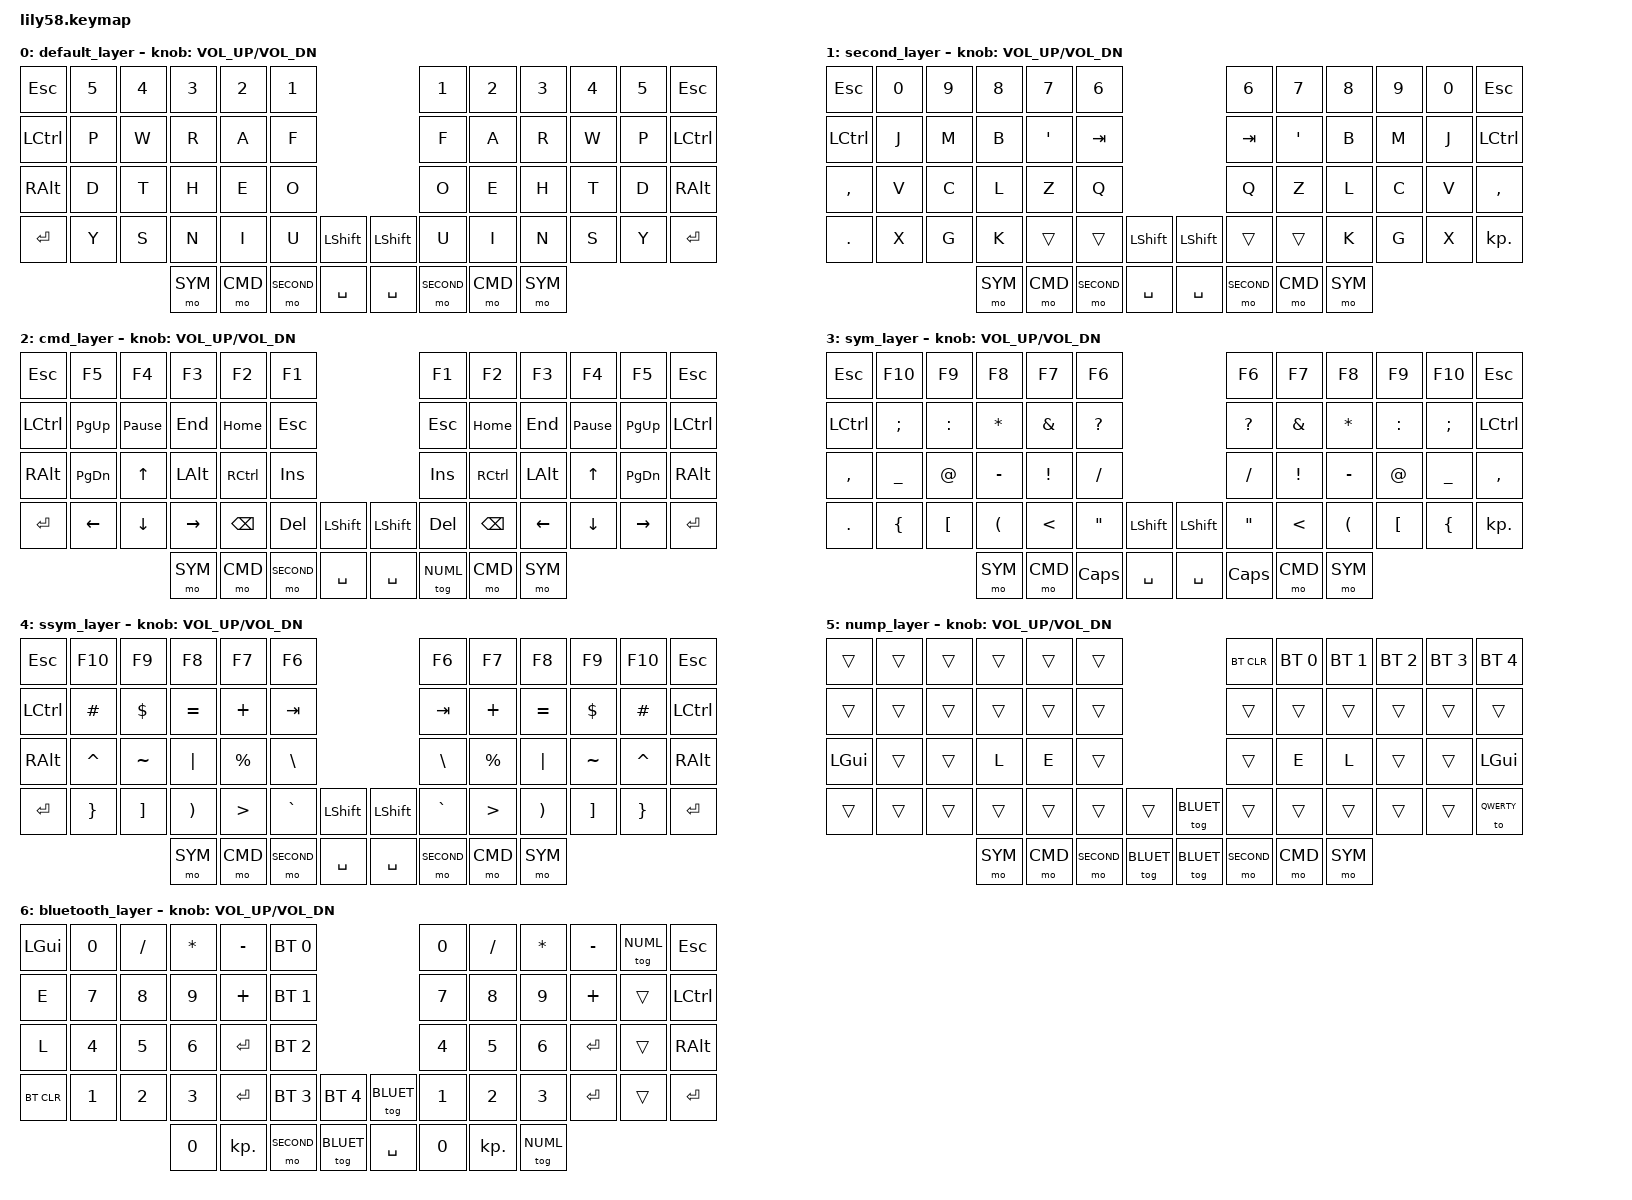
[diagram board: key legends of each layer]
/*
 * Copyright (c) 2020 The ZMK Contributors
 *
 * SPDX-License-Identifier: MIT
 */

#include <behaviors.dtsi>
#include <dt-bindings/zmk/keys.h>
#include <dt-bindings/zmk/bt.h>
#include <dt-bindings/zmk/ext_power.h>

#define QWERTY 0
#define SECOND 1
#define CMD    2
#define SYM    3
#define SSYM   4
#define NUML   5
#define BLUET  6


/ {
    /* Definición de capas condicionales */
    conditional_layers {
        compatible = "zmk,conditional-layers";
        tri_layer {
            if-layers = <SECOND SYM>;
            then-layer = <SSYM>;
			
		};
		
        tri_layer2 {
           if-layers = <SECOND SYM CMD>;
           then-layer = <NUML>;
        };
		
//		tri_layer3 {
//           if-layers = <SECOND CMD>;
//            then-layer = <NUML>;
//        };
		
//		tri_layer4 {
//            if-layers = <SYM CMD>;
//            then-layer = <BLUET>;
//        };
		
		
    };


	
//CMD +  SENC
//Sym + CMD
	



    keymap {
        compatible = "zmk,keymap";

        default_layer {
// ------------------------------------------------------------------------------------------------------------
// |  ESC  |  5  |  4  |  3   |  2   |  1   |                   |BTCLR | BT1   | BT2   |  BT3 |  BT4  |  BT5  |
// |  CTRL |  P  |  W  |  R   |  A   |  F   |                   |  F   |  A    |  R    |  W   |   P   | CTRL  |
// |  RALT |  D  |  T  |  H   |  E   |  O   |                   |  O   |  E    |  H    |  T   |   D   | RALT  |
// | RET   |  Y  |  S  |  N   |  I   |  U   |  SHIFT |  | SHIFT |  U   |  I    |  N    |  S   |   Y   | RET   |
//                     | SIM  | NUM  | SECON|  SPACE |  | SPACE | SECON| NUM   | SIM   |
            bindings = <
&kp ESC   &kp N5 &kp N4 &kp N3   &kp N2   &kp N1                           &kp N1      &kp N2   &kp N3    &kp N4  &kp N5   &kp ESC
&kp LCTRL &kp P  &kp W  &kp R    &kp A    &kp F                            &kp F       &kp A    &kp R     &kp W   &kp P    &kp LCTRL
&kp RALT  &kp D  &kp T  &kp H    &kp E    &kp O                            &kp O       &kp E    &kp H     &kp T   &kp D    &kp RALT
&kp RET   &kp Y  &kp S  &kp N    &kp I    &kp U       &kp LSHFT  &kp LSHFT &kp U       &kp I    &kp N     &kp S   &kp Y    &kp RET
                        &mo SYM  &mo CMD  &mo SECOND  &kp SPACE  &kp SPACE &mo SECOND  &mo CMD  &mo SYM
            >;

            sensor-bindings = <&inc_dec_kp C_VOL_UP C_VOL_DN>;
        };

        second_layer {
// ------------------------------------------------------------------------------------------------------------
// |  ESC  |  0  |  9  |  8   |  7   |  6   |                   |  6   |  7    |  8    |  9   |   0   |  ESC  |
// |  LCTRL|  J  |  M  |  B   |  '   |  TAB |                   |  TAB |  '    |  B    |  M   |   J   | LCTRL |
// |  COMMA |  V  |  C  |  L   |  Z   |  Q   |                   |  Q   |  Z    |  L    |  C   |   V   | COMMA|
// | KP_DOT|  X  |  G  |  K   |  LWIN| RWIN |  SHIFT |  | SHIFT | RWIN |  LWIN |  K    |  G   |   X   | KP_DOT|
//                     | SIM  | NUM  | SECON|  SPACE |  | SPACE | SECON| NUM   | SIM   |
            bindings = <
&kp ESC      &kp N0 &kp N9 &kp N8   &kp N7   &kp N6                            &kp N6     &kp N7   &kp N8  &kp N9  &kp N0 &kp ESC
&kp LCTRL    &kp J  &kp M  &kp B    &kp SQT  &kp TAB                           &kp TAB    &kp SQT  &kp B   &kp M   &kp J  &kp LCTRL
&kp COMMA    &kp V  &kp C  &kp L    &kp Z    &kp Q                             &kp Q      &kp Z    &kp L   &kp C   &kp V  &kp COMMA 
&kp DOT   &kp X  &kp G  &kp K    &trans   &trans &kp LSHFT     &kp LSHFT    &trans     &trans  &kp K   &kp G   &kp X  &kp KP_DOT
                        &mo SYM  &mo CMD  &mo SECOND &kp SPACE    &kp SPACE    &mo SECOND &mo CMD  &mo SYM
            >;

            sensor-bindings = <&inc_dec_kp C_VOL_UP C_VOL_DN>;
        };

        cmd_layer {
// ------------------------------------------------------------------------------------------------------------
// |  ESC  | F5  |  F4 |  F3  |  F2  |  F1  |                   |  F1    |  F2    |  F3  |  F4 | F5   | ESC   |
// |  LCTRL| PGUP|PAUSE|  END | HOME |  ESC |                   |  ESC   |  HOME  |  END |PAUSE| PGUP | LCTRL |
// |  RALT | PGDN| C_UP| LALT | RCTRL|  INS |                   |  INS   |  RCTRL |  LALT|C_UP | PGDN | RALT  |
// | RET   |C_LT | C_DN| C_RT |BACKSP|  DEL |  SHIFT |  | SHIFT |  DEL   |  BACKSP|  C_LT|C_DN | C_RT | RET   |
//                     | SIM  | NUM  | SECON|  SPACE |  | SPACE | SECON  | NUM    | SIM  |
            bindings = <
&kp ESC   &kp F5     &kp F4           &kp F3    &kp F2    &kp F1                                &kp F1    &kp F2     &kp F3    &kp F4           &kp F5    &kp ESC
&kp LCTRL &kp PG_UP  &kp PAUSE_BREAK  &kp END   &kp HOME  &kp ESC                               &kp ESC   &kp HOME   &kp END   &kp PAUSE_BREAK  &kp PG_UP &kp LCTRL
&kp RALT  &kp PG_DN  &kp UP           &kp LALT  &kp RCTRL &kp INS                               &kp INS   &kp RCTRL  &kp LALT  &kp UP           &kp PG_DN &kp RALT
&kp RET   &kp LEFT   &kp DOWN         &kp RIGHT &kp BSPC  &kp DEL   &kp LSHFT         &kp LSHFT &kp DEL   &kp BSPC   &kp LEFT  &kp DOWN         &kp RIGHT  &kp RET
                                      &mo SYM   &mo CMD   &mo SECOND &kp SPACE         &kp SPACE &tog NUML &mo CMD    &mo SYM
            >;

            sensor-bindings = <&inc_dec_kp C_VOL_UP C_VOL_DN>;
		};	

        sym_layer {
// ------------------------------------------------------------------------------------------------------------
// |  ESC  | F10 |  F9 |  F8  |  F7  |  F6  |                   |  F6  |  F7   |  F8   |  F9  |  F10  | ESC   |
// |  LCTRL|  ;  |  :  |  *   |  &   |  ?   |                   |  ?   |  &    |  *    |  :   |   ;   |LCTRL  |
// |  RALT |  _  |  @  |  -   |  !   |  /   |                   |  /   |  !    |  -    |  @   |   _   | RALT  |
// | RET   |  cor|  [  |  (   |   <  |  "   |  SHIFT |  | SHIFT |  "   |  <    |  (    |  [   |   {   | RET   |
//                     | SIM  | NUM  | SECON|  SPACE |  | SPACE | SECON| NUM  | SIM    |
            bindings = <
&kp ESC      &kp F10    &kp F9     &kp F8    &kp F7    &kp F6                                 &kp F6    &kp F7   &kp F8    &kp F9    &kp F10   &kp ESC
&kp LCTRL    &kp SEMI   &kp COLON  &kp ASTRK &kp AMPS  &kp QMARK                              &kp QMARK &kp AMPS &kp ASTRK &kp COLON &kp SEMI  &kp LCTRL
&kp COMMA    &kp UNDER  &kp AT     &kp MINUS &kp EXCL  &kp SLASH                              &kp SLASH &kp EXCL &kp MINUS &kp AT    &kp UNDER &kp COMMA
&kp DOT   &kp LBRC   &kp LBKT   &kp LPAR  &kp LT    &kp DQT    &kp LSHFT         &kp LSHFT &kp DQT   &kp LT   &kp LPAR  &kp LBKT  &kp LBRC  &kp KP_DOT
                                &mo SYM   &mo CMD   &kp CAPS      &kp SPACE         &kp SPACE &kp CAPS  &mo CMD  &mo SYM
            >;

            sensor-bindings = <&inc_dec_kp C_VOL_UP C_VOL_DN>;
        };

        ssym_layer {
// ------------------------------------------------------------------------------------------------------------
// |  ESC  | F10 |  F9 |  F8  |  F7  |  F6  |                   |  F6  |  F7   |  F8   |  F9  |   F10 |  ESC  |
// |  LCTRL|  #  |  $  |  =   |  +   |  TAB |                   |  TAB |  +    |  =    |  $   |   #   |LCTRL  |
// |  RALT |  ^  |TILDE|  |   |  %   |  \   |                   |  \   |  %    |  |    |TILDE |   ^   | RALT  |
// | RET   |  cor|  ]  |  )   |   >  |  `   |  SHIFT |  |  SHIFT|  `   |  >    |  )    |  ]   |   }   | RET   |
//                     | SIM  | NUM  | SECON|  SPACE |  | SPACE | SECON| NUM   | SIM   |
            bindings = <
&kp ESC   &kp F10    &kp F9     &kp F8    &kp F7    &kp F6                                 &kp F6     &kp F7    &kp F8    &kp F9    &kp F10   &kp ESC
&kp LCTRL &kp HASH   &kp DLLR   &kp EQUAL &kp PLUS  &kp TAB                                &kp TAB    &kp PLUS  &kp EQUAL &kp DLLR  &kp HASH  &kp LCTRL
&kp RALT  &kp CARET  &kp TILDE  &kp PIPE  &kp PRCNT &kp BSLH                               &kp BSLH   &kp PRCNT &kp PIPE  &kp TILDE &kp CARET &kp RALT
&kp RET   &kp RBRC   &kp RBKT   &kp RPAR  &kp GT    &kp GRAVE  &kp LSHFT          &kp LSHFT &kp GRAVE  &kp GT    &kp RPAR  &kp RBKT  &kp RBRC  &kp RET
                                &mo SYM   &mo CMD   &mo SECOND &kp SPACE         &kp SPACE &mo SECOND &mo CMD   &mo SYM
            >;

            sensor-bindings = <&inc_dec_kp C_VOL_UP C_VOL_DN>;
		};	
			
nump_layer {
// ------------------------------------------------------------------------------------------------------------
// |  ESC  |     |  /  |  *   |  -   |      |                   |      | /     | *     |  -   |       |  ESC |
// |  CTRL |  7  |  8  |  9   |  +   |      |                   |  7   |  8    |  9    |  +   |   P   | CTRL |
// |  RALT |  4  |  5  |  6   |  RET |      |                   |  4   |  5    |  6    |  RET |   ;   |RALT  |
// |  RET  |  1  |  2  |  3   |  RET |      |  BT-M  |  |  BT-L |  1   |  2    |  3    |  RET |   /   | RET  |
//                     | 0    | DOT  | NUML |  SPACE |  | SPACE | 0     DOT  | NUM  |
            bindings = <
					
							
&trans     &trans         &trans       &trans        &trans       &trans                            &bt BT_CLR &bt BT_SEL 0 &bt BT_SEL 1 &bt BT_SEL 2 &bt BT_SEL 3 &bt BT_SEL 4 
&trans     &trans         &trans       &trans        &trans       &trans                                  &trans     &trans       &trans       &trans       &trans       &trans
&kp LGUI   &trans         &trans       &kp L         &kp E        &trans                                  &trans     &kp E        &kp L        &trans       &trans       &kp LGUI
&trans     &trans         &trans       &trans        &trans       &trans       &trans          &tog BLUET &trans     &trans       &trans       &trans       &trans       &to QWERTY
                                         &mo SYM       &mo CMD    &mo SECOND   &tog BLUET      &tog BLUET &mo SECOND &mo CMD      &mo SYM							
							
							
            >;

            sensor-bindings = <&inc_dec_kp C_VOL_UP C_VOL_DN>;
   			
        };
		
		
		        bluetooth_layer {
// ------------------------------------------------------------------------------------------------------------
// |BTCLR  | BT1 | BT2 |  BT3 |  BT4 |  BT5 |                   |BTCLR | BT1   | BT2   |  BT3 |  BT4  |  BT5  |
// |       |     |     |      |      |      |                   |      |       |       |      |       |       |
// |       |     |     |      |      |      |                   |      |       |       |      |       |       |
// |       |     |     |      |      |      |        |  |       |      |       |       |      |       |       |
//                     | SIM  | NUM  | SECON|  BLUET |  | BLUET | SECON| NUM   | SIM   |
            bindings = <
			
&kp LGUI    &kp N0  &kp SLASH &kp ASTRK &kp MINUS    &bt BT_SEL 0                                        &kp N0       &kp SLASH   &kp ASTRK  &kp MINUS &tog NUML  &kp ESC 
&kp E       &kp N7  &kp N8    &kp N9    &kp PLUS     &bt BT_SEL 1                                        &kp N7       &kp N8      &kp N9     &kp PLUS  &trans     &kp LCTRL
&kp L       &kp N4  &kp N5    &kp N6    &kp RET      &bt BT_SEL 2                                        &kp N4       &kp N5      &kp N6     &kp RET   &trans     &kp RALT
&bt BT_CLR  &kp N1  &kp N2    &kp N3    &kp RET      &bt BT_SEL 3   &bt BT_SEL 4                         &tog BLUET &kp N1   &kp N2      &kp N3     &kp RET   &trans     &kp RET
                              &kp N0    &kp KP_DOT   &mo SECOND     &tog BLUET              &kp SPACE    &kp N0   &kp KP_DOT &tog NUML
							  
							  
							   >;

            sensor-bindings = <&inc_dec_kp C_VOL_UP C_VOL_DN>;
        };
		
		
		
    };
};
